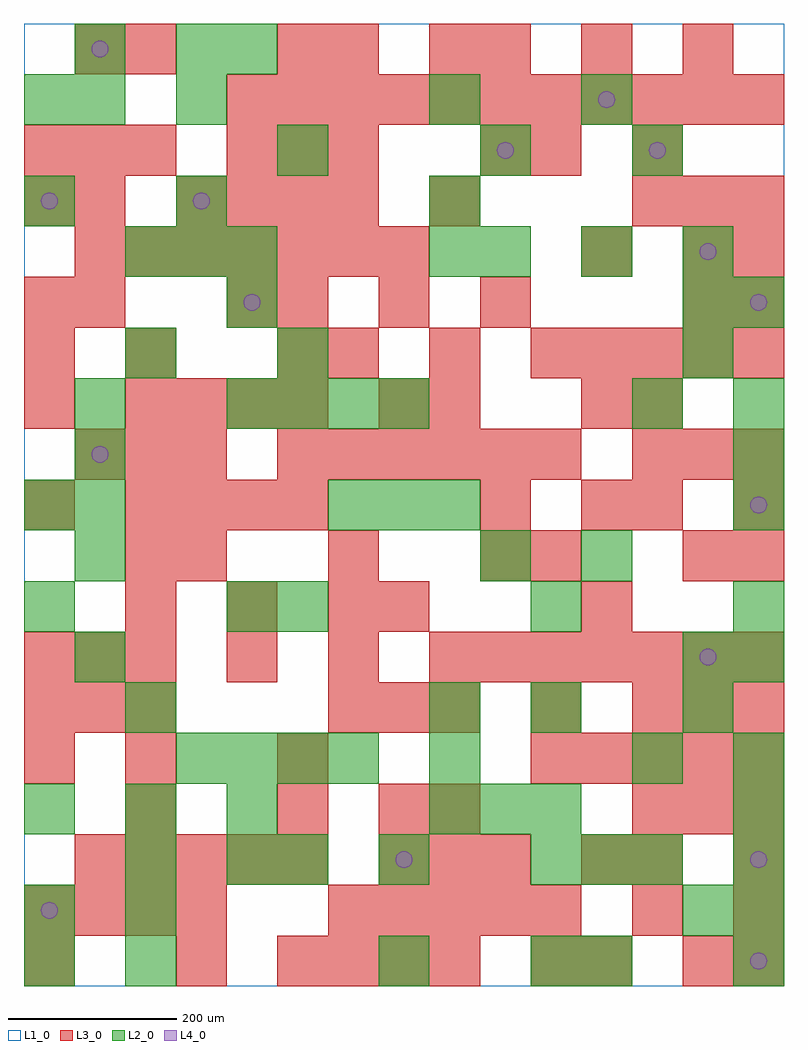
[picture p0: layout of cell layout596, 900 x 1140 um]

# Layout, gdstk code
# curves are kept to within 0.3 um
import gdstk
lib = gdstk.Library(unit=1e-6, precision=1e-09)
def R(c, l, rs):  # rectangles x0, y0, x1, y1
    for r in rs: c.add(gdstk.rectangle(r[:2], r[2:], *l))
def A(c, l, x, y, w, h, nx, ny, dx, dy):  # array of equal rectangles
    R(c, l, [(x+i*dx, y+j*dy, x+i*dx+w, y+j*dy+h) for i in range(nx) for j in range(ny)])
def P(c, l, *ps):  # polygons
    for p in ps: c.add(gdstk.Polygon(p, *l))
L1_0 = (1, 0)
L2_0 = (2, 0)
L3_0 = (3, 0)
L4_0 = (4, 0)

layout596 = lib.new_cell('layout596')
R(layout596, L1_0, [(0,0,900,1140)])
A(layout596, L2_0, 120, 0, 60, 60, 1, 3, 0, 60)
A(layout596, L2_0, 840, 0, 60, 60, 1, 5, 0, 60)
A(layout596, L2_0, 300, 120, 60, 60, 1, 3, 0, 300)
A(layout596, L2_0, 600, 120, 60, 60, 3, 1, 60, 0)
A(layout596, L2_0, 0, 180, 60, 60, 3, 1, 120, 0)
A(layout596, L2_0, 480, 180, 60, 60, 3, 1, 60, 0)
A(layout596, L2_0, 180, 240, 60, 60, 4, 1, 60, 0)
A(layout596, L2_0, 60, 480, 60, 60, 1, 4, 0, 60)
A(layout596, L2_0, 360, 540, 60, 60, 3, 1, 60, 0)
A(layout596, L2_0, 840, 540, 60, 60, 1, 3, 0, 60)
A(layout596, L2_0, 240, 660, 60, 60, 4, 1, 60, 0)
A(layout596, L2_0, 120, 840, 60, 60, 3, 1, 60, 0)
A(layout596, L2_0, 540, 840, 60, 60, 3, 1, 120, 0)
R(layout596, L2_0, [(0,0,60,60), (420,0,480,60), (600,0,660,60), (660,0,720,60), (0,60,60,120), (780,60,840,120), (240,120,300,180), (420,120,480,180), (480,240,540,300), (720,240,780,300), (120,300,180,360), (480,300,540,360), (600,300,660,360), (780,300,840,360), (60,360,120,420), (780,360,840,420), (840,360,900,420), (0,420,60,480), (240,420,300,480), (600,420,660,480), (840,420,900,480), (540,480,600,540), (660,480,720,540), (0,540,60,600), (720,660,780,720), (120,720,180,780), (780,720,840,780), (240,780,300,840), (780,780,840,840), (840,780,900,840), (480,840,540,900), (0,900,60,960), (180,900,240,960), (480,900,540,960), (300,960,360,1020), (540,960,600,1020), (720,960,780,1020), (0,1020,60,1080), (60,1020,120,1080), (180,1020,240,1080), (480,1020,540,1080), (660,1020,720,1080), (60,1080,120,1140), (180,1080,240,1140), (240,1080,300,1140)])
A(layout596, L3_0, 300, 0, 60, 60, 4, 1, 60, 0)
A(layout596, L3_0, 840, 0, 60, 60, 1, 3, 0, 60)
A(layout596, L3_0, 0, 60, 60, 60, 4, 1, 60, 0)
A(layout596, L3_0, 360, 60, 60, 60, 5, 1, 60, 0)
A(layout596, L3_0, 60, 120, 60, 60, 5, 1, 60, 0)
A(layout596, L3_0, 420, 120, 60, 60, 3, 1, 60, 0)
A(layout596, L3_0, 420, 180, 60, 60, 1, 3, 0, 240)
A(layout596, L3_0, 720, 180, 60, 60, 3, 2, 60, 120)
A(layout596, L3_0, 120, 240, 60, 60, 1, 3, 0, 240)
A(layout596, L3_0, 600, 240, 60, 60, 5, 1, 60, 0)
A(layout596, L3_0, 0, 300, 60, 60, 3, 2, 60, 60)
A(layout596, L3_0, 360, 300, 60, 60, 3, 1, 60, 0)
A(layout596, L3_0, 240, 360, 60, 60, 3, 1, 120, 0)
A(layout596, L3_0, 540, 360, 60, 60, 6, 1, 60, 0)
A(layout596, L3_0, 120, 420, 60, 60, 3, 1, 120, 0)
A(layout596, L3_0, 660, 420, 60, 60, 1, 3, 0, 120)
A(layout596, L3_0, 180, 480, 60, 60, 3, 1, 180, 0)
A(layout596, L3_0, 120, 540, 60, 60, 4, 2, 60, 120)
A(layout596, L3_0, 60, 600, 60, 60, 3, 1, 60, 0)
A(layout596, L3_0, 300, 600, 60, 60, 6, 1, 60, 0)
A(layout596, L3_0, 720, 600, 60, 60, 3, 2, 60, 300)
A(layout596, L3_0, 0, 660, 60, 60, 1, 3, 0, 60)
A(layout596, L3_0, 360, 720, 60, 60, 3, 1, 120, 0)
A(layout596, L3_0, 660, 720, 60, 60, 4, 1, 60, 0)
A(layout596, L3_0, 300, 780, 60, 60, 3, 1, 120, 0)
A(layout596, L3_0, 60, 840, 60, 60, 7, 1, 60, 0)
A(layout596, L3_0, 180, 900, 60, 60, 4, 1, 60, 0)
A(layout596, L3_0, 0, 960, 60, 60, 3, 1, 60, 0)
A(layout596, L3_0, 240, 960, 60, 60, 3, 1, 60, 0)
A(layout596, L3_0, 240, 1020, 60, 60, 11, 1, 60, 0)
A(layout596, L3_0, 540, 1080, 60, 60, 3, 1, 120, 0)
R(layout596, L3_0, [(0,0,60,60), (180,0,240,60), (600,0,660,60), (660,0,720,60), (780,0,840,60), (720,60,780,120), (660,120,720,180), (720,120,780,180), (120,180,180,240), (300,180,360,240), (480,180,540,240), (0,240,60,300), (300,240,360,300), (600,300,660,360), (600,480,660,540), (780,480,840,540), (840,480,900,540), (0,540,60,600), (540,540,600,600), (720,540,780,600), (840,540,900,600), (480,660,540,720), (720,660,780,720), (300,720,360,780), (60,780,120,840), (240,780,300,840), (780,780,840,840), (840,780,900,840), (660,840,720,900), (780,840,840,900), (840,840,900,900), (0,900,60,960), (60,900,120,960), (480,900,540,960), (540,960,600,1020), (600,960,660,1020), (720,960,780,1020), (60,1080,120,1140), (120,1080,180,1140), (300,1080,360,1140), (360,1080,420,1140), (480,1080,540,1140)])
P(layout596, L4_0, [(40,90),(39.239,93.827),(37.071,97.071),(33.827,99.239),(30,100),(26.173,99.239),(22.929,97.071),(20.761,93.827),(20,90),(20.761,86.173),(22.929,82.929),(26.173,80.761),(30,80),(33.827,80.761),(37.071,82.929),(39.239,86.173)],
  [(40,930),(39.239,933.827),(37.071,937.071),(33.827,939.239),(30,940),(26.173,939.239),(22.929,937.071),(20.761,933.827),(20,930),(20.761,926.173),(22.929,922.929),(26.173,920.761),(30,920),(33.827,920.761),(37.071,922.929),(39.239,926.173)],
  [(100,630),(99.239,633.827),(97.071,637.071),(93.827,639.239),(90,640),(86.173,639.239),(82.929,637.071),(80.761,633.827),(80,630),(80.761,626.173),(82.929,622.929),(86.173,620.761),(90,620),(93.827,620.761),(97.071,622.929),(99.239,626.173)],
  [(100,1110),(99.239,1113.827),(97.071,1117.071),(93.827,1119.239),(90,1120),(86.173,1119.239),(82.929,1117.071),(80.761,1113.827),(80,1110),(80.761,1106.173),(82.929,1102.929),(86.173,1100.761),(90,1100),(93.827,1100.761),(97.071,1102.929),(99.239,1106.173)],
  [(220,930),(219.239,933.827),(217.071,937.071),(213.827,939.239),(210,940),(206.173,939.239),(202.929,937.071),(200.761,933.827),(200,930),(200.761,926.173),(202.929,922.929),(206.173,920.761),(210,920),(213.827,920.761),(217.071,922.929),(219.239,926.173)],
  [(280,810),(279.239,813.827),(277.071,817.071),(273.827,819.239),(270,820),(266.173,819.239),(262.929,817.071),(260.761,813.827),(260,810),(260.761,806.173),(262.929,802.929),(266.173,800.761),(270,800),(273.827,800.761),(277.071,802.929),(279.239,806.173)],
  [(460,150),(459.239,153.827),(457.071,157.071),(453.827,159.239),(450,160),(446.173,159.239),(442.929,157.071),(440.761,153.827),(440,150),(440.761,146.173),(442.929,142.929),(446.173,140.761),(450,140),(453.827,140.761),(457.071,142.929),(459.239,146.173)],
  [(580,990),(579.239,993.827),(577.071,997.071),(573.827,999.239),(570,1000),(566.173,999.239),(562.929,997.071),(560.761,993.827),(560,990),(560.761,986.173),(562.929,982.929),(566.173,980.761),(570,980),(573.827,980.761),(577.071,982.929),(579.239,986.173)],
  [(700,1050),(699.239,1053.827),(697.071,1057.071),(693.827,1059.239),(690,1060),(686.173,1059.239),(682.929,1057.071),(680.761,1053.827),(680,1050),(680.761,1046.173),(682.929,1042.929),(686.173,1040.761),(690,1040),(693.827,1040.761),(697.071,1042.929),(699.239,1046.173)],
  [(760,990),(759.239,993.827),(757.071,997.071),(753.827,999.239),(750,1000),(746.173,999.239),(742.929,997.071),(740.761,993.827),(740,990),(740.761,986.173),(742.929,982.929),(746.173,980.761),(750,980),(753.827,980.761),(757.071,982.929),(759.239,986.173)],
  [(820,390),(819.239,393.827),(817.071,397.071),(813.827,399.239),(810,400),(806.173,399.239),(802.929,397.071),(800.761,393.827),(800,390),(800.761,386.173),(802.929,382.929),(806.173,380.761),(810,380),(813.827,380.761),(817.071,382.929),(819.239,386.173)],
  [(820,870),(819.239,873.827),(817.071,877.071),(813.827,879.239),(810,880),(806.173,879.239),(802.929,877.071),(800.761,873.827),(800,870),(800.761,866.173),(802.929,862.929),(806.173,860.761),(810,860),(813.827,860.761),(817.071,862.929),(819.239,866.173)],
  [(880,30),(879.239,33.827),(877.071,37.071),(873.827,39.239),(870,40),(866.173,39.239),(862.929,37.071),(860.761,33.827),(860,30),(860.761,26.173),(862.929,22.929),(866.173,20.761),(870,20),(873.827,20.761),(877.071,22.929),(879.239,26.173)],
  [(880,150),(879.239,153.827),(877.071,157.071),(873.827,159.239),(870,160),(866.173,159.239),(862.929,157.071),(860.761,153.827),(860,150),(860.761,146.173),(862.929,142.929),(866.173,140.761),(870,140),(873.827,140.761),(877.071,142.929),(879.239,146.173)],
  [(880,570),(879.239,573.827),(877.071,577.071),(873.827,579.239),(870,580),(866.173,579.239),(862.929,577.071),(860.761,573.827),(860,570),(860.761,566.173),(862.929,562.929),(866.173,560.761),(870,560),(873.827,560.761),(877.071,562.929),(879.239,566.173)],
  [(880,810),(879.239,813.827),(877.071,817.071),(873.827,819.239),(870,820),(866.173,819.239),(862.929,817.071),(860.761,813.827),(860,810),(860.761,806.173),(862.929,802.929),(866.173,800.761),(870,800),(873.827,800.761),(877.071,802.929),(879.239,806.173)])

lib.write_gds('layout596.gds')
